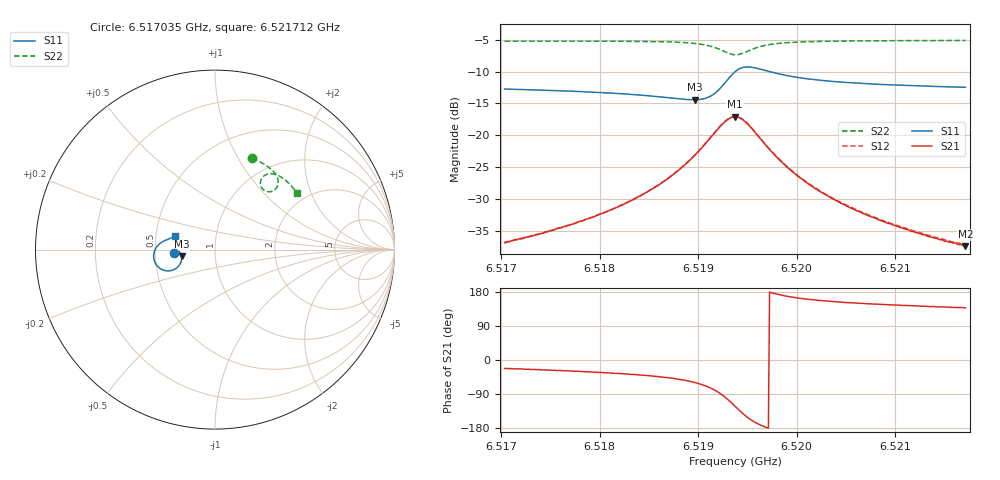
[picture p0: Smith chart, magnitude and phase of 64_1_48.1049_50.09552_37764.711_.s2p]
#  HZ  S  RI  R  50.00
! Rohde & Schwarz Vector Network Analyzer
! Rohde-Schwarz,ZNB20-2Port,1311601062101988,3.16
! Created: UTC 12/23/2023, 3:41:05 AM
! freq[Hz]  re:S11  im:S11  re:S21  im:S21  re:S12  im:S12  re:S22  im:S22
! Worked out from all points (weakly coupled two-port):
!   401 points, 6.517035 GHz to 6.521712 GHz, reference 50 ohm
!   highest |S21| = -17.10 dB at 6.519374 GHz (marker M1); lowest = -37.4 dB at 6.521712 GHz (marker M2)
!   lowest |S11| = -14.4 dB at 6.518964 GHz (marker M3), VSWR 1.47, Z = 34.2 - j2.59 ohm
!   |S11| at or under -10 dB: start of sweep to 6.519375 GHz; 6.519726 GHz to end of sweep
!   |S22| runs from -7.3 to -5.1 dB; largest |S21 - S12| = 0.0043
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6.5170348e9  -0.2303 -0.0166  0.0133 -0.00542  0.0134 -0.00498  0.2062 0.5081
6.517409e9  -0.2261 -0.0111  0.0152 -0.0074  0.0155 -0.00691  0.2337 0.4967
6.5178183e9  -0.2202 -0.0064  0.0183 -0.0108  0.0186 -0.0101  0.2641 0.4812
6.5182509e9  -0.2113 -0.00447  0.0232 -0.0173  0.0239 -0.0165  0.2967 0.4605
6.5186018e9  -0.2005 -0.00953  0.0293 -0.0284  0.0303 -0.0277  0.324 0.4369
6.5188123e9  -0.1921 -0.02  0.0338 -0.0421  0.0353 -0.0413  0.3402 0.4162
6.5189643e9  -0.1865 -0.0364  0.0354 -0.0599  0.0375 -0.0591  0.35 0.3942
6.5190695e9  -0.1865 -0.0562  0.0324 -0.0789  0.0349 -0.0785  0.3523 0.3727
6.5191514e9  -0.1935 -0.0781  0.0224 -0.0987  0.0255 -0.0988  0.347 0.3521
6.51928e9  -0.2368 -0.1148  -0.0216 -0.1276  -0.0182 -0.1293  0.3136 0.3236
6.5193268e9  -0.265 -0.1188  -0.0478 -0.1283  -0.0444 -0.1306  0.293 0.3227
6.5193736e9  -0.2952 -0.1111  -0.074 -0.1185  -0.0711 -0.1214  0.273 0.3311
6.5194204e9  -0.3206 -0.0923  -0.0944 -0.0993  -0.0924 -0.1026  0.2586 0.3475
6.5194788e9  -0.3385 -0.0605  -0.1068 -0.0696  -0.1058 -0.0732  0.2528 0.3722
6.5195841e9  -0.3376 -0.00963  -0.1006 -0.0261  -0.1006 -0.0291  0.2674 0.4056
6.5196893e9  -0.3211 0.0201  -0.083 -0.0032  -0.0837 -0.00575  0.2904 0.42
6.5198998e9  -0.2912 0.0444  -0.0552 0.0115  -0.0562 0.0102  0.328 0.4214
6.5201571e9  -0.2694 0.0545  -0.037 0.0141  -0.0379 0.0131  0.3585 0.4096
6.5205313e9  -0.2518 0.0616  -0.0238 0.013  -0.0246 0.0126  0.3897 0.3884
6.5209406e9  -0.2401 0.0676  -0.0167 0.0114  -0.0172 0.0111  0.4164 0.3643
6.5213148e9  -0.2321 0.0729  -0.0127 0.0101  -0.0133 0.00994  0.4371 0.3417
6.5217124e9  -0.2252 0.0783  -0.00996 0.00905  -0.0106 0.00904  0.4568 0.3171
